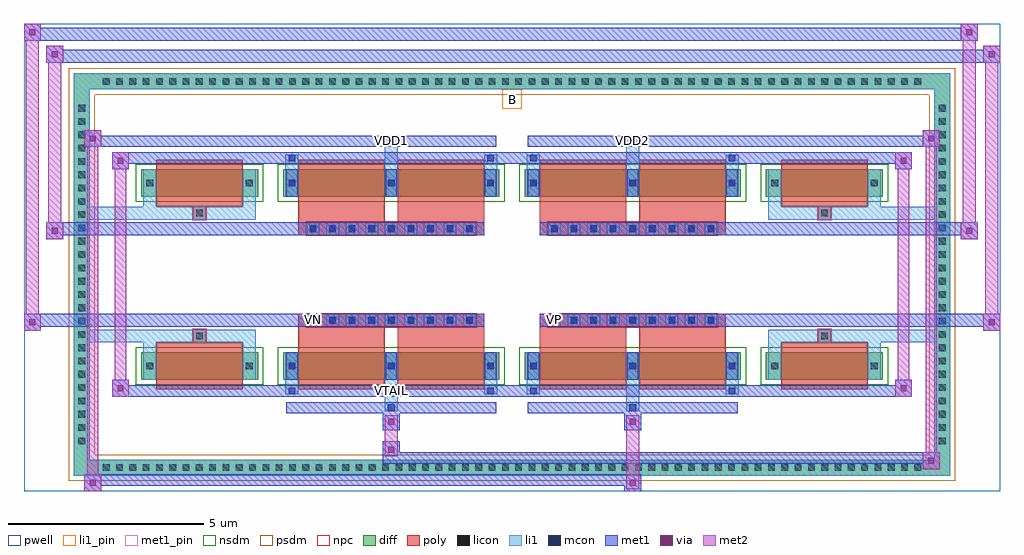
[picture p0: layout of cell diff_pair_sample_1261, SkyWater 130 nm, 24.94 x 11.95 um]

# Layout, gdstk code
import gdstk
lib = gdstk.Library(unit=1e-6, precision=5e-09)
def R(c, l, rs):  # rectangles x0, y0, x1, y1
    for r in rs: c.add(gdstk.rectangle(r[:2], r[2:], *l))
def A(c, l, x, y, w, h, nx, ny, dx, dy):  # array of equal rectangles
    R(c, l, [(x+i*dx, y+j*dy, x+i*dx+w, y+j*dy+h) for i in range(nx) for j in range(ny)])
def P(c, l, *ps):  # polygons
    for p in ps: c.add(gdstk.Polygon(p, *l))
pwell = (64, 44)
diff = (65, 20)
poly = (66, 20)
licon = (66, 44)
li1_pin = (67, 16)
li1 = (67, 20)
mcon = (67, 44)
met1_pin = (68, 16)
met1 = (68, 20)
via = (68, 44)
met2 = (69, 20)
nsdm = (93, 44)
psdm = (94, 20)
npc = (95, 20)

diff_pair_sample_1261 = lib.new_cell('diff_pair_sample_1261')
R(diff_pair_sample_1261, pwell, [(-12.47,-5.54,12.47,6.41), (-9.79,-3.73,-0.01,-0.805), (0.01,-3.73,9.79,-0.805), (-9.79,0.805,-0.01,3.73), (0.01,0.805,9.79,3.73)])
A(diff_pair_sample_1261, diff, -10.575, -5.14, 0.41, 0.41, 62, 2, 0.34, 9.87)
A(diff_pair_sample_1261, diff, -11.2, -4.455, 0.41, 0.41, 1, 26, 0, 0.34)
A(diff_pair_sample_1261, diff, 10.79, -4.455, 0.41, 0.41, 1, 26, 0, 0.34)
R(diff_pair_sample_1261, diff, [(-10.575,-5.14,10.575,-4.73), (-11.2,-4.455,-10.79,4.455), (10.79,-4.455,11.2,4.455), (-9.48,-2.685,-6.49,-1.985), (-5.85,-2.685,-0.32,-1.985), (0.32,-2.685,5.85,-1.985), (6.49,-2.685,9.48,-1.985), (-9.48,1.985,-6.49,2.685), (-5.85,1.985,-0.32,2.685), (0.32,1.985,5.85,2.685), (6.49,1.985,9.48,2.685), (-10.575,4.73,10.575,5.14)])
P(diff_pair_sample_1261, diff, [(11.2,5.14),(-11.2,5.14),(-11.2,-4.73),(-10.79,-4.73),(-10.79,4.73),(10.79,4.73),(10.79,-4.73),(-10.79,-4.73),(-11.2,-4.73),(-11.2,-5.14),(11.2,-5.14)])
A(diff_pair_sample_1261, poly, -5.25, -1.335, 0.33, 0.33, 9, 2, 0.5, 2.34)
A(diff_pair_sample_1261, poly, 0.92, -1.335, 0.33, 0.33, 9, 2, 0.5, 2.34)
R(diff_pair_sample_1261, poly, [(-9.09,-2.935,-6.88,-1.735), (-5.46,-2.935,-3.25,-1.735), (-2.92,-2.935,-0.71,-1.735), (0.71,-2.935,2.92,-1.735), (3.25,-2.935,5.46,-1.735), (6.88,-2.935,9.09,-1.735), (-8.15,-1.735,-7.82,-1.405), (-8.15,-1.735,-7.82,-1.405), (-5.46,-1.735,-3.25,-1.335), (-2.92,-1.735,-0.71,-1.335), (0.71,-1.735,2.92,-1.335), (3.25,-1.735,5.46,-1.335), (7.82,-1.735,8.15,-1.405), (7.82,-1.735,8.15,-1.405), (-5.46,-1.335,-0.71,-1.005), (0.71,-1.335,5.46,-1.005), (-5.46,1.005,-0.71,1.335), (0.71,1.005,5.46,1.335), (-5.46,1.335,-3.25,1.735), (-2.92,1.335,-0.71,1.735), (0.71,1.335,2.92,1.735), (3.25,1.335,5.46,1.735), (-8.15,1.405,-7.82,1.735), (-8.15,1.405,-7.82,1.735), (7.82,1.405,8.15,1.735), (7.82,1.405,8.15,1.735), (-9.09,1.735,-6.88,2.935), (-5.46,1.735,-3.25,2.935), (-2.92,1.735,-0.71,2.935), (0.71,1.735,2.92,2.935), (3.25,1.735,5.46,2.935), (6.88,1.735,9.09,2.935)])
A(diff_pair_sample_1261, licon, -10.455, -5.02, 0.17, 0.17, 62, 2, 0.34, 9.87)
A(diff_pair_sample_1261, licon, -11.08, -4.335, 0.17, 0.17, 1, 26, 0, 0.34)
A(diff_pair_sample_1261, licon, 10.91, -4.335, 0.17, 0.17, 1, 26, 0, 0.34)
A(diff_pair_sample_1261, licon, -5.71, -2.42, 0.17, 0.17, 3, 2, 2.54, 4.67)
A(diff_pair_sample_1261, licon, 0.46, -2.42, 0.17, 0.17, 3, 2, 2.54, 4.67)
A(diff_pair_sample_1261, licon, -5.17, -1.255, 0.17, 0.17, 9, 2, 0.5, 2.34)
A(diff_pair_sample_1261, licon, 1, -1.255, 0.17, 0.17, 9, 2, 0.5, 2.34)
R(diff_pair_sample_1261, licon, [(-9.34,-2.42,-9.17,-2.25), (-6.8,-2.42,-6.63,-2.25), (6.63,-2.42,6.8,-2.25), (9.17,-2.42,9.34,-2.25), (-8.07,-1.655,-7.9,-1.485), (7.9,-1.655,8.07,-1.485), (-8.07,1.485,-7.9,1.655), (7.9,1.485,8.07,1.655), (-9.34,2.25,-9.17,2.42), (-6.8,2.25,-6.63,2.42), (6.63,2.25,6.8,2.42), (9.17,2.25,9.34,2.42)])
R(diff_pair_sample_1261, li1_pin, [(-0.25,4.23,0.25,4.73)])
A(diff_pair_sample_1261, li1, -10.535, -5.1, 0.33, 0.33, 62, 2, 0.34, 9.87)
A(diff_pair_sample_1261, li1, -11.16, -4.415, 0.33, 0.33, 1, 26, 0, 0.34)
A(diff_pair_sample_1261, li1, 10.83, -4.415, 0.33, 0.33, 1, 26, 0, 0.34)
A(diff_pair_sample_1261, li1, -5.79, -2.685, 0.33, 0.7, 3, 2, 2.54, 4.67)
A(diff_pair_sample_1261, li1, 0.38, -2.685, 0.33, 0.7, 3, 2, 2.54, 4.67)
A(diff_pair_sample_1261, li1, -5.79, -2.5, 0.33, 0.33, 3, 2, 2.54, 4.67)
A(diff_pair_sample_1261, li1, 0.38, -2.5, 0.33, 0.33, 3, 2, 2.54, 4.67)
A(diff_pair_sample_1261, li1, -5.25, -1.335, 0.33, 0.33, 9, 2, 0.5, 2.34)
A(diff_pair_sample_1261, li1, 0.92, -1.335, 0.33, 0.33, 9, 2, 0.5, 2.34)
R(diff_pair_sample_1261, li1, [(-11.2,-5.14,-10.79,-4.73), (-11.2,-5.14,-10.79,-4.73), (-10.79,-5.14,10.79,-4.73), (10.79,-5.14,11.2,-4.73), (10.79,-5.14,11.2,-4.73), (-11.2,-4.73,-10.79,4.73), (10.79,-4.73,11.2,4.73), (-3.25,-3.49,-2.92,-2.685), (-3.17,-3.49,-3,-3.32), (2.92,-3.49,3.25,-2.685), (3,-3.49,3.17,-3.32), (-5.79,-3.06,-5.46,-2.685), (-5.71,-3.06,-5.54,-2.89), (-0.71,-3.06,-0.38,-2.685), (-0.63,-3.06,-0.46,-2.89), (0.38,-3.06,0.71,-2.685), (0.46,-3.06,0.63,-2.89), (5.46,-3.06,5.79,-2.685), (5.54,-3.06,5.71,-2.89), (-9.42,-2.685,-9.09,-1.985), (-6.88,-2.685,-6.55,-1.985), (6.55,-2.685,6.88,-1.985), (9.09,-2.685,9.42,-1.985), (-9.42,-2.5,-9.09,-2.17), (-6.88,-2.5,-6.55,-2.17), (6.55,-2.5,6.88,-2.17), (9.09,-2.5,9.42,-2.17), (-5.71,-2.42,-5.54,-2.25), (-5.71,-2.42,-5.54,-2.25), (-3.17,-2.42,-3,-2.25), (-3.17,-2.42,-3,-2.25), (-0.63,-2.42,-0.46,-2.25), (-0.63,-2.42,-0.46,-2.25), (0.46,-2.42,0.63,-2.25), (0.46,-2.42,0.63,-2.25), (3,-2.42,3.17,-2.25), (3,-2.42,3.17,-2.25), (5.54,-2.42,5.71,-2.25), (5.54,-2.42,5.71,-2.25), (-9.42,-1.985,-9.09,-1.405), (-6.88,-1.985,-6.55,-1.405), (6.55,-1.985,6.88,-1.405), (9.09,-1.985,9.42,-1.405), (-11.2,-1.735,-8.15,-1.405), (-9.42,-1.735,-8.15,-1.405), (-8.15,-1.735,-7.82,-1.405), (-7.82,-1.735,-6.55,-1.405), (6.55,-1.735,7.82,-1.405), (7.82,-1.735,8.15,-1.405), (7.82,-1.735,11.2,-1.405), (8.15,-1.735,9.42,-1.405), (-11.2,1.405,-8.15,1.735), (-9.42,1.405,-8.15,1.735), (-9.42,1.405,-9.09,1.985), (-8.15,1.405,-7.82,1.735), (-7.82,1.405,-6.55,1.735), (-6.88,1.405,-6.55,1.985), (6.55,1.405,7.82,1.735), (6.55,1.405,6.88,1.985), (7.82,1.405,8.15,1.735), (7.82,1.405,11.2,1.735), (8.15,1.405,9.42,1.735), (9.09,1.405,9.42,1.985), (-9.42,1.985,-9.09,2.685), (-6.88,1.985,-6.55,2.685), (6.55,1.985,6.88,2.685), (9.09,1.985,9.42,2.685), (-9.42,2.17,-9.09,2.5), (-6.88,2.17,-6.55,2.5), (6.55,2.17,6.88,2.5), (9.09,2.17,9.42,2.5), (-5.71,2.25,-5.54,2.42), (-5.71,2.25,-5.54,2.42), (-3.17,2.25,-3,2.42), (-3.17,2.25,-3,2.42), (-0.63,2.25,-0.46,2.42), (-0.63,2.25,-0.46,2.42), (0.46,2.25,0.63,2.42), (0.46,2.25,0.63,2.42), (3,2.25,3.17,2.42), (3,2.25,3.17,2.42), (5.54,2.25,5.71,2.42), (5.54,2.25,5.71,2.42), (-5.79,2.685,-5.46,3.06), (-3.25,2.685,-2.92,3.49), (-0.71,2.685,-0.38,3.06), (0.38,2.685,0.71,3.06), (2.92,2.685,3.25,3.49), (5.46,2.685,5.79,3.06), (-5.71,2.89,-5.54,3.06), (-0.63,2.89,-0.46,3.06), (0.46,2.89,0.63,3.06), (5.54,2.89,5.71,3.06), (-3.17,3.32,-3,3.49), (3,3.32,3.17,3.49), (-11.2,4.73,-10.79,5.14), (-11.2,4.73,-10.79,5.14), (-10.79,4.73,10.79,5.14), (10.79,4.73,11.2,5.14), (10.79,4.73,11.2,5.14)])
A(diff_pair_sample_1261, mcon, -5.71, -2.42, 0.17, 0.17, 3, 2, 2.54, 4.67)
A(diff_pair_sample_1261, mcon, 0.46, -2.42, 0.17, 0.17, 3, 2, 2.54, 4.67)
A(diff_pair_sample_1261, mcon, -5.17, -1.255, 0.17, 0.17, 9, 2, 0.5, 2.34)
A(diff_pair_sample_1261, mcon, 1, -1.255, 0.17, 0.17, 9, 2, 0.5, 2.34)
R(diff_pair_sample_1261, mcon, [(-3.17,-3.49,-3,-3.32), (3,-3.49,3.17,-3.32), (-5.71,-3.06,-5.54,-2.89), (-0.63,-3.06,-0.46,-2.89), (0.46,-3.06,0.63,-2.89), (5.54,-3.06,5.71,-2.89), (-5.71,2.89,-5.54,3.06), (-0.63,2.89,-0.46,3.06), (0.46,2.89,0.63,3.06), (5.54,2.89,5.71,3.06), (-3.17,3.32,-3,3.49), (3,3.32,3.17,3.49)])
R(diff_pair_sample_1261, met1_pin, [(-3.22,-3.1,-2.95,-2.83), (-5.22,-1.295,-4.95,-1.025), (0.95,-1.295,1.22,-1.025), (-3.22,3.28,-2.95,3.55), (2.95,3.28,3.22,3.55)])
A(diff_pair_sample_1261, met1, -5.77, -2.685, 0.29, 0.7, 3, 2, 2.54, 4.67)
A(diff_pair_sample_1261, met1, 0.4, -2.685, 0.29, 0.7, 3, 2, 2.54, 4.67)
A(diff_pair_sample_1261, met1, -5.77, -2.48, 0.29, 0.29, 3, 2, 2.54, 4.67)
A(diff_pair_sample_1261, met1, 0.4, -2.48, 0.29, 0.29, 3, 2, 2.54, 4.67)
A(diff_pair_sample_1261, met1, -5.23, -1.315, 0.29, 0.29, 9, 2, 0.5, 2.34)
A(diff_pair_sample_1261, met1, 0.94, -1.315, 0.29, 0.29, 9, 2, 0.5, 2.34)
R(diff_pair_sample_1261, met1, [(-10.93,-5.54,-10.5,-5.11), (2.87,-5.54,3.3,-5.11), (-10.93,-5.4,3.3,-5.11), (10.5,-4.97,10.93,-4.54), (-3.3,-4.83,10.93,-4.54), (-3.3,-4.69,-2.87,-4.26), (-3.3,-3.98,-2.87,-3.55), (2.87,-3.98,3.3,-3.55), (-5.77,-3.55,-0.4,-3.26), (-3.23,-3.55,-2.94,-3.26), (0.4,-3.55,5.77,-3.26), (2.94,-3.55,3.23,-3.26), (-10.22,-3.12,-9.79,-2.69), (-10.22,-3.12,-5.77,-2.83), (-5.77,-3.12,-5.48,-2.83), (-5.77,-3.12,-0.4,-2.83), (-0.69,-3.12,-0.4,-2.83), (-0.4,-3.12,0.4,-2.83), (0.4,-3.12,0.69,-2.83), (0.4,-3.12,5.77,-2.83), (5.48,-3.12,5.77,-2.83), (5.77,-3.12,10.22,-2.83), (9.79,-3.12,10.22,-2.69), (-12.47,-1.435,-12.04,-1.005), (12.04,-1.435,12.47,-1.005), (-12.47,-1.335,-0.71,-1.005), (-5.46,-1.335,-0.71,-1.005), (0.71,-1.335,5.46,-1.005), (0.71,-1.335,12.47,-1.005), (-11.9,0.905,-11.47,1.335), (11.47,0.905,11.9,1.335), (-11.9,1.005,-5.46,1.335), (-5.46,1.005,-0.71,1.335), (0.71,1.005,5.46,1.335), (5.46,1.005,11.9,1.335), (-10.22,2.69,-9.79,3.12), (9.79,2.69,10.22,3.12), (-10.22,2.83,-5.77,3.12), (-5.77,2.83,-5.48,3.12), (-5.77,2.83,-0.4,3.12), (-0.69,2.83,-0.4,3.12), (-0.4,2.83,0.4,3.12), (0.4,2.83,0.69,3.12), (0.4,2.83,5.77,3.12), (5.48,2.83,5.77,3.12), (5.77,2.83,10.22,3.12), (-10.93,3.26,-10.5,3.69), (-10.93,3.26,-5.77,3.55), (-5.77,3.26,-0.4,3.55), (-3.23,3.26,-2.94,3.55), (0.4,3.26,5.77,3.55), (2.94,3.26,3.23,3.55), (5.77,3.26,10.93,3.55), (10.5,3.26,10.93,3.69), (-11.9,5.41,-11.47,5.84), (-11.9,5.41,-9.79,5.74), (-9.79,5.41,9.79,5.74), (9.79,5.41,12.47,5.74), (12.04,5.41,12.47,5.84), (-12.47,5.98,-12.04,6.41), (-12.47,5.98,-9.79,6.31), (-9.79,5.98,9.79,6.31), (9.79,5.98,11.9,6.31), (11.47,5.98,11.9,6.41)])
R(diff_pair_sample_1261, via, [(-10.79,-5.4,-10.64,-5.25), (3.01,-5.4,3.16,-5.25), (10.64,-4.83,10.79,-4.68), (-3.16,-4.55,-3.01,-4.4), (-3.16,-3.84,-3.01,-3.69), (3.01,-3.84,3.16,-3.69), (-10.08,-2.98,-9.93,-2.83), (9.93,-2.98,10.08,-2.83), (-12.33,-1.295,-12.18,-1.145), (12.18,-1.295,12.33,-1.145), (-11.76,1.045,-11.61,1.195), (11.61,1.045,11.76,1.195), (-10.08,2.83,-9.93,2.98), (9.93,2.83,10.08,2.98), (-10.79,3.4,-10.64,3.55), (10.64,3.4,10.79,3.55), (-11.76,5.55,-11.61,5.7), (12.18,5.55,12.33,5.7), (-12.33,6.12,-12.18,6.27), (11.61,6.12,11.76,6.27)])
R(diff_pair_sample_1261, met2, [(-10.93,-5.54,-10.5,-5.11), (-10.86,-5.54,-10.57,3.69), (-10.57,-5.54,-10.5,-5.11), (-10.88,-5.49,-10.55,-5.16), (2.92,-5.49,3.25,-5.16), (2.92,-5.16,3.25,-3.93), (10.5,-4.97,10.93,-4.54), (10.57,-4.97,10.86,3.69), (10.86,-4.97,10.93,-4.54), (10.55,-4.92,10.88,-4.59), (-3.25,-4.64,-2.92,-4.31), (-3.25,-4.31,-2.92,-3.93), (-3.25,-3.93,-2.92,-3.6), (2.92,-3.93,3.25,-3.6), (-10.22,-3.12,-9.79,-2.69), (-10.15,-3.12,-9.86,3.12), (-9.86,-3.12,-9.79,-2.69), (9.79,-3.12,10.22,-2.69), (9.86,-3.12,10.15,3.12), (10.15,-3.12,10.22,-2.69), (-10.17,-3.07,-9.84,-2.74), (9.84,-3.07,10.17,-2.74), (-12.47,-1.435,-12.04,-1.005), (-12.42,-1.435,-12.09,6.41), (-12.09,-1.435,-12.04,-1.005), (12.04,-1.435,12.47,-1.005), (12.09,-1.435,12.42,5.84), (12.42,-1.435,12.47,-1.005), (-12.42,-1.385,-12.09,-1.055), (12.09,-1.385,12.42,-1.055), (-11.9,0.905,-11.47,1.335), (-11.85,0.905,-11.52,5.84), (-11.52,0.905,-11.47,1.335), (11.47,0.905,11.9,1.335), (11.52,0.905,11.85,6.41), (11.85,0.905,11.9,1.335), (-11.85,0.955,-11.52,1.285), (11.52,0.955,11.85,1.285), (-10.22,2.69,-9.79,3.12), (-9.86,2.69,-9.79,3.12), (9.79,2.69,10.22,3.12), (10.15,2.69,10.22,3.12), (-10.17,2.74,-9.84,3.07), (9.84,2.74,10.17,3.07), (-10.93,3.26,-10.5,3.69), (-10.57,3.26,-10.5,3.69), (10.5,3.26,10.93,3.69), (10.86,3.26,10.93,3.69), (-10.88,3.31,-10.55,3.64), (10.55,3.31,10.88,3.64), (-11.9,5.41,-11.47,5.84), (-11.52,5.41,-11.47,5.84), (12.04,5.41,12.47,5.84), (12.42,5.41,12.47,5.84), (-11.85,5.46,-11.52,5.79), (12.09,5.46,12.42,5.79), (-12.47,5.98,-12.04,6.41), (-12.09,5.98,-12.04,6.41), (11.47,5.98,11.9,6.41), (11.85,5.98,11.9,6.41), (-12.42,6.03,-12.09,6.36), (11.52,6.03,11.85,6.36)])
R(diff_pair_sample_1261, nsdm, [(-9.61,-2.815,-6.36,-1.855), (-5.98,-2.815,-0.19,-1.855), (0.19,-2.815,5.98,-1.855), (6.36,-2.815,9.61,-1.855), (-9.61,1.855,-6.36,2.815), (-5.98,1.855,-0.19,2.815), (0.19,1.855,5.98,2.815), (6.36,1.855,9.61,2.815)])
P(diff_pair_sample_1261, psdm, [(11.33,5.27),(-11.33,5.27),(-11.33,-4.6),(-10.66,-4.6),(-10.66,4.6),(10.66,4.6),(10.66,-4.6),(-10.66,-4.6),(-11.33,-4.6),(-11.33,-5.27),(11.33,-5.27)])
A(diff_pair_sample_1261, npc, -5.27, -1.355, 0.37, 0.37, 9, 2, 0.5, 2.34)
A(diff_pair_sample_1261, npc, 0.9, -1.355, 0.37, 0.37, 9, 2, 0.5, 2.34)
R(diff_pair_sample_1261, npc, [(-8.17,-1.755,-7.8,-1.385), (7.8,-1.755,8.17,-1.385), (-5.27,-1.355,-4.4,-0.985), (-5.27,-1.355,-4.4,-0.985), (-4.77,-1.355,-3.9,-0.985), (-4.77,-1.355,-3.9,-0.985), (-4.27,-1.355,-3.4,-0.985), (-4.27,-1.355,-3.4,-0.985), (-3.77,-1.355,-2.9,-0.985), (-3.77,-1.355,-2.9,-0.985), (-3.27,-1.355,-2.4,-0.985), (-3.27,-1.355,-2.4,-0.985), (-2.77,-1.355,-1.9,-0.985), (-2.77,-1.355,-1.9,-0.985), (-2.27,-1.355,-1.4,-0.985), (-2.27,-1.355,-1.4,-0.985), (-1.77,-1.355,-0.9,-0.985), (-1.77,-1.355,-0.9,-0.985), (0.9,-1.355,1.77,-0.985), (0.9,-1.355,1.77,-0.985), (1.4,-1.355,2.27,-0.985), (1.4,-1.355,2.27,-0.985), (1.9,-1.355,2.77,-0.985), (1.9,-1.355,2.77,-0.985), (2.4,-1.355,3.27,-0.985), (2.4,-1.355,3.27,-0.985), (2.9,-1.355,3.77,-0.985), (2.9,-1.355,3.77,-0.985), (3.4,-1.355,4.27,-0.985), (3.4,-1.355,4.27,-0.985), (3.9,-1.355,4.77,-0.985), (3.9,-1.355,4.77,-0.985), (4.4,-1.355,5.27,-0.985), (4.4,-1.355,5.27,-0.985), (-5.27,0.985,-4.4,1.355), (-5.27,0.985,-4.4,1.355), (-4.77,0.985,-3.9,1.355), (-4.77,0.985,-3.9,1.355), (-4.27,0.985,-3.4,1.355), (-4.27,0.985,-3.4,1.355), (-3.77,0.985,-2.9,1.355), (-3.77,0.985,-2.9,1.355), (-3.27,0.985,-2.4,1.355), (-3.27,0.985,-2.4,1.355), (-2.77,0.985,-1.9,1.355), (-2.77,0.985,-1.9,1.355), (-2.27,0.985,-1.4,1.355), (-2.27,0.985,-1.4,1.355), (-1.77,0.985,-0.9,1.355), (-1.77,0.985,-0.9,1.355), (0.9,0.985,1.77,1.355), (0.9,0.985,1.77,1.355), (1.4,0.985,2.27,1.355), (1.4,0.985,2.27,1.355), (1.9,0.985,2.77,1.355), (1.9,0.985,2.77,1.355), (2.4,0.985,3.27,1.355), (2.4,0.985,3.27,1.355), (2.9,0.985,3.77,1.355), (2.9,0.985,3.77,1.355), (3.4,0.985,4.27,1.355), (3.4,0.985,4.27,1.355), (3.9,0.985,4.77,1.355), (3.9,0.985,4.77,1.355), (4.4,0.985,5.27,1.355), (4.4,0.985,5.27,1.355), (-8.17,1.385,-7.8,1.755), (7.8,1.385,8.17,1.755)])
diff_pair_sample_1261.add(gdstk.Label('VTAIL', (-3.085,-2.965), layer=68, texttype=5))
diff_pair_sample_1261.add(gdstk.Label('VN', (-5.085,-1.16), layer=68, texttype=5))
diff_pair_sample_1261.add(gdstk.Label('VP', (1.085,-1.16), layer=68, texttype=5))
diff_pair_sample_1261.add(gdstk.Label('B', (0,4.48), layer=67, texttype=5))
diff_pair_sample_1261.add(gdstk.Label('VDD2', (3.085,3.415), layer=68, texttype=5))
diff_pair_sample_1261.add(gdstk.Label('VDD1', (-3.085,3.415), layer=68, texttype=5))

lib.write_gds('diff_pair_sample_1261.gds')
